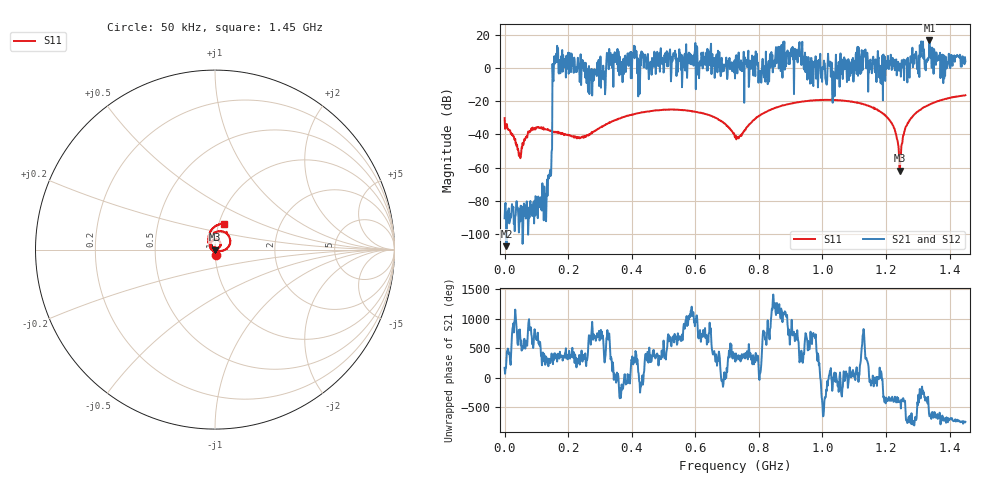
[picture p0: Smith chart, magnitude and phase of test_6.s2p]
! Created with skrf 1.11.0 (http://scikit-rf.org).
# Hz S RI R 50.0
!freq ReS11 ImS11 ReS21 ImS21 ReS12 ImS12 ReS22 ImS22
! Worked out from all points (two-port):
!   1001 points, 50 kHz to 1.45 GHz, reference 50 ohm
!   highest |S21| = 16.74 dB at 1.337 GHz (marker M1); lowest = -107.4 dB at 5.85 MHz (marker M2)
!   |S21| within 3 dB of the highest: 571.189 MHz to 571.4156 MHz (226.7 kHz wide, 0.0397 % of centre); 1.310426 GHz to 1.312343 GHz (1.917 MHz wide, 0.146 % of centre) (the widest 2 of 12)
!   lowest |S11| = -61.9 dB at 1.243 GHz (marker M3), VSWR 1.00, Z = 50.1 - j0.0514 ohm
!   |S11| at or under -10 dB: start of sweep to end of sweep
!   |S22| runs from - to - dB; largest |S21 - S12| = 0
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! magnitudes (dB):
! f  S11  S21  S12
! 50 kHz  -30.1  -90.6  -90.6
! 5.85 MHz  -34.5  -107.4  -107.4
! 47.9 MHz  -51.5  -84.8  -84.8
! 81.25 MHz  -38.1  -80.2  -80.2
! 127.6 MHz  -36.9  -76.0  -76.0
! 142.1 MHz  -37.8  -63.4  -63.4
! 158.1 MHz  -38.3  2.7  2.7
! 161 MHz  -38.8  4.1  4.1
! 242.2 MHz  -41.8  -0.5  -0.5
! 310.3 MHz  -34.9  1.5  1.5
! 327.7 MHz  -33.0  -0.6  -0.6
! 484.3 MHz  -25.4  4.5  4.5
! 642.4 MHz  -28.2  8.1  8.1
! 725 MHz  -41.8  -6.2  -6.2
! 813.5 MHz  -27.4  1.3  1.3
! 920.8 MHz  -20.6  5.4  5.4
! 967.2 MHz  -19.5  -9.0  -9.0
! 1.209 GHz  -31.0  -0.6  -0.6
! 1.243 GHz  -61.9  1.8  1.8
! 1.272 GHz  -32.2  2.2  2.2
! 1.337 GHz  -22.0  16.7  16.7
! 1.45 GHz  -16.3  4.1  4.1
